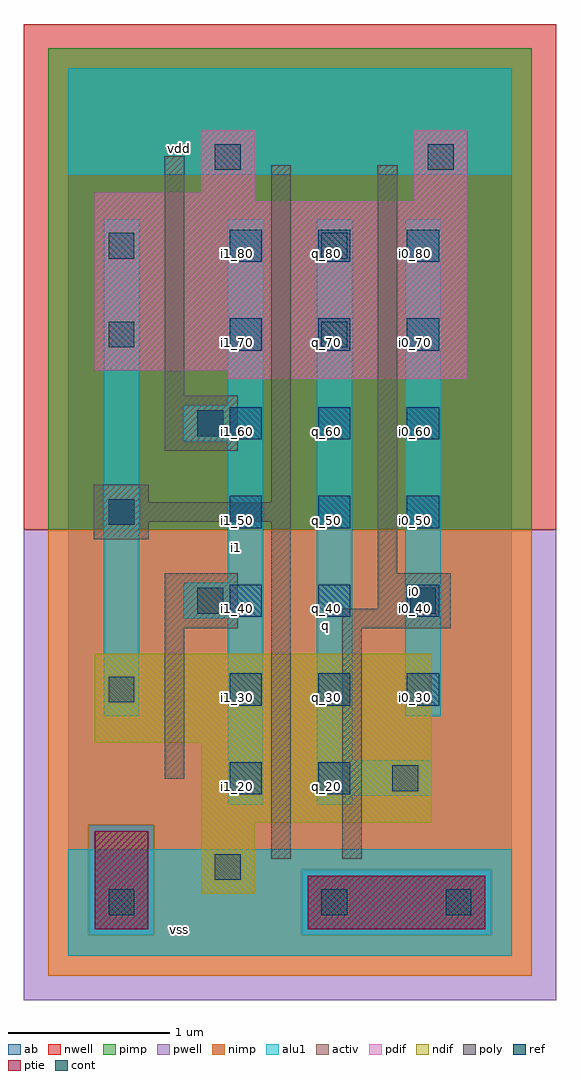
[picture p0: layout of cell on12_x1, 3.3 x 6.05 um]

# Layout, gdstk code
import gdstk
lib = gdstk.Library(unit=1e-6, precision=2.5e-09)
def R(c, l, rs):  # rectangles x0, y0, x1, y1
    for r in rs: c.add(gdstk.rectangle(r[:2], r[2:], *l))
def A(c, l, x, y, w, h, nx, ny, dx, dy):  # array of equal rectangles
    R(c, l, [(x+i*dx, y+j*dy, x+i*dx+w, y+j*dy+h) for i in range(nx) for j in range(ny)])
ndif = (3, 0)
pdif = (4, 0)
ptie = (6, 0)
ref = (24, 0)
cont = (25, 0)
pwell = (41, 0)
nwell = (42, 0)
activ = (43, 0)
pimp = (44, 0)
nimp = (45, 0)
poly = (46, 0)
alu1 = (49, 0)
ab = (63, 0)

on12_x1 = lib.new_cell('on12_x1')
R(on12_x1, ndif, [(0.825,0.385,1.155,0.825), (0.825,0.825,2.255,1.32), (0.165,1.32,2.255,1.87)])
R(on12_x1, pdif, [(0.99,3.575,2.475,3.63), (0.165,3.63,2.475,4.675), (0.165,4.675,1.155,4.73), (2.145,4.675,2.475,5.115), (0.825,4.73,1.155,5.115)])
R(on12_x1, ptie, [(0.165,0.165,0.495,0.77), (1.485,0.165,2.585,0.495)])
A(on12_x1, ref, 1, 1.55, 0.2, 0.2, 3, 6, 0.55, 0.55)
R(on12_x1, ref, [(1,1,1.2,1.2), (1.55,1,1.75,1.2)])
A(on12_x1, cont, 0.25, 1.57, 0.16, 0.16, 1, 3, 0, 1.1)
R(on12_x1, cont, [(0.25,0.25,0.41,0.41), (1.57,0.25,1.73,0.41), (2.34,0.25,2.5,0.41), (0.91,0.47,1.07,0.63), (2.01,1.02,2.17,1.18), (0.8,2.12,0.96,2.28), (2.12,2.12,2.28,2.28), (0.8,3.22,0.96,3.38), (1.57,3.77,1.73,3.93), (0.25,4.32,0.41,4.48), (1.57,4.32,1.73,4.48), (0.91,4.87,1.07,5.03), (2.23,4.87,2.39,5.03)])
R(on12_x1, pwell, [(-0.275,-0.275,3.025,2.64)])
R(on12_x1, nwell, [(-0.275,2.64,3.025,5.775)])
R(on12_x1, activ, [(0.165,0.165,0.495,0.77), (1.485,0.165,2.585,0.495), (0.825,0.385,1.155,0.825), (0.825,0.825,2.255,1.32), (0.165,1.32,2.255,1.87), (0.99,3.575,2.475,3.63), (0.165,3.63,2.475,4.675), (0.165,4.675,1.155,4.73), (2.145,4.675,2.475,5.115), (0.825,4.73,1.155,5.115)])
R(on12_x1, pimp, [(0.125,0.125,0.535,0.81), (1.445,0.125,2.625,0.535), (-0.125,2.64,2.875,5.625)])
R(on12_x1, nimp, [(-0.125,-0.125,2.875,0.125), (-0.125,0.125,0.125,0.81), (0.535,0.125,1.445,0.535), (2.625,0.125,2.875,0.535), (0.535,0.535,2.875,0.81), (-0.125,0.81,2.875,2.64)])
R(on12_x1, poly, [(1.26,0.6,1.38,2.69), (1.7,0.6,1.82,2.03), (0.6,1.095,0.72,2.03), (0.6,2.03,1.05,2.37), (1.7,2.03,2.37,2.15), (1.92,2.15,2.37,2.37), (1.92,2.37,2.04,4.9), (0.16,2.58,0.5,2.69), (0.16,2.69,1.38,2.81), (0.16,2.81,0.5,2.92), (1.26,2.81,1.38,4.9), (0.6,3.13,1.05,3.47), (0.6,3.47,0.72,4.955)])
R(on12_x1, alu1, [(0,0,2.75,0.66), (0.99,0.935,1.21,2.09), (1.54,0.935,1.76,0.99), (1.54,0.99,2.255,1.21), (1.54,1.21,1.76,4.565), (0.22,1.485,0.44,4.565), (2.09,1.485,2.31,4.565), (0.715,2.09,1.21,2.31), (0.99,2.31,1.21,3.19), (0.715,3.19,1.21,3.41), (0.99,3.41,1.21,4.565), (0,4.84,2.75,5.5)])
R(on12_x1, ab, [(0,0,2.75,5.5)])
on12_x1.add(gdstk.Label('vss', (0.6875,0.165), layer=49, texttype=0))
on12_x1.add(gdstk.Label('i0', (2.145,2.255), layer=49, texttype=0))
on12_x1.add(gdstk.Label('q', (1.595,2.0475), layer=49, texttype=0))
on12_x1.add(gdstk.Label('i1', (1.045,2.53), layer=49, texttype=0))
on12_x1.add(gdstk.Label('vdd', (0.6875,5.005), layer=49, texttype=0))
on12_x1.add(gdstk.Label('i0_80', (2.15,4.35), layer=24, texttype=0))
on12_x1.add(gdstk.Label('q_80', (1.6,4.35), layer=24, texttype=0))
on12_x1.add(gdstk.Label('q_70', (1.6,3.8), layer=24, texttype=0))
on12_x1.add(gdstk.Label('q_60', (1.6,3.25), layer=24, texttype=0))
on12_x1.add(gdstk.Label('q_50', (1.6,2.7), layer=24, texttype=0))
on12_x1.add(gdstk.Label('q_40', (1.6,2.15), layer=24, texttype=0))
on12_x1.add(gdstk.Label('q_30', (1.6,1.6), layer=24, texttype=0))
on12_x1.add(gdstk.Label('i1_40', (1.05,2.15), layer=24, texttype=0))
on12_x1.add(gdstk.Label('i1_30', (1.05,1.6), layer=24, texttype=0))
on12_x1.add(gdstk.Label('i0_30', (2.15,1.6), layer=24, texttype=0))
on12_x1.add(gdstk.Label('i0_40', (2.15,2.15), layer=24, texttype=0))
on12_x1.add(gdstk.Label('i0_50', (2.15,2.7), layer=24, texttype=0))
on12_x1.add(gdstk.Label('i0_60', (2.15,3.25), layer=24, texttype=0))
on12_x1.add(gdstk.Label('i0_70', (2.15,3.8), layer=24, texttype=0))
on12_x1.add(gdstk.Label('i1_80', (1.05,4.35), layer=24, texttype=0))
on12_x1.add(gdstk.Label('i1_70', (1.05,3.8), layer=24, texttype=0))
on12_x1.add(gdstk.Label('i1_60', (1.05,3.25), layer=24, texttype=0))
on12_x1.add(gdstk.Label('i1_50', (1.05,2.7), layer=24, texttype=0))
on12_x1.add(gdstk.Label('i1_20', (1.05,1.05), layer=24, texttype=0))
on12_x1.add(gdstk.Label('q_20', (1.6,1.05), layer=24, texttype=0))

lib.write_gds('on12_x1.gds')
